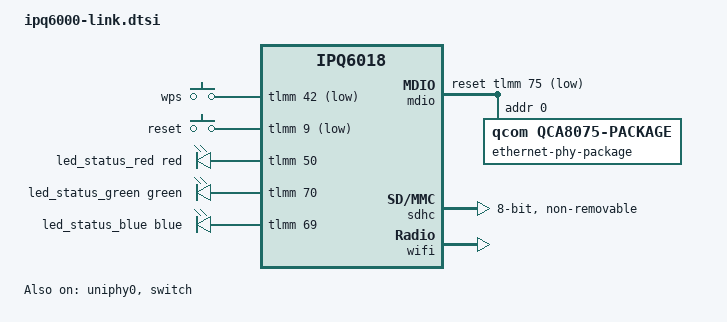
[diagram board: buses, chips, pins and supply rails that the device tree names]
// SPDX-License-Identifier: GPL-2.0-or-later OR MIT

#include "ipq6018.dtsi"
#include "ipq6018-ess.dtsi"
#include "ipq6018-nss.dtsi"
#include "ipq6018-common.dtsi"

#include <dt-bindings/gpio/gpio.h>
#include <dt-bindings/input/input.h>
#include <dt-bindings/leds/common.h>

/ {
	aliases {
		serial0 = &blsp1_uart3;

		led-boot = &led_status_red;
		led-failsafe = &led_status_red;
		led-running = &led_status_green;
		led-upgrade = &led_status_red;
	};

	chosen {
		stdout-path = "serial0:115200n8";
	};

	keys {
		compatible = "gpio-keys";

		wps {
			label = "wps";
			linux,code = <KEY_WPS_BUTTON>;
			gpios = <&tlmm 42 GPIO_ACTIVE_LOW>;
		};

		reset {
			label = "reset";
			linux,code = <KEY_RESTART>;
			gpios = <&tlmm 9 GPIO_ACTIVE_LOW>;
		};
	};

	leds {
		/* Single RGB led controlled via GPIO.
		To mimic the OEM default behaviour red are switched on from boot */
		compatible = "gpio-leds";

		led_status_red: status-red {
			gpios = <&tlmm 50 GPIO_ACTIVE_HIGH>;
			color = <LED_COLOR_ID_RED>;
			function = LED_FUNCTION_STATUS;
			default-state = "on";
		};

		led_status_green: status-green {
			gpios = <&tlmm 70 GPIO_ACTIVE_HIGH>;
			color = <LED_COLOR_ID_GREEN>;
			function = LED_FUNCTION_STATUS;
		};

		led_status_blue: status-blue {
			gpios = <&tlmm 69 GPIO_ACTIVE_HIGH>;
			color = <LED_COLOR_ID_BLUE>;
			function = LED_FUNCTION_STATUS;
		};
	};
};

&mdio {
	status = "okay";

	pinctrl-0 = <&mdio_pins>;
	pinctrl-names = "default";
	reset-gpios = <&tlmm 75 GPIO_ACTIVE_LOW>;

	ethernet-phy-package@0 {
		compatible = "qcom,qca8075-package";
		qcom,package-mode = "psgmii";
		#address-cells = <1>;
		#size-cells = <0>;
		reg = <0>;

		qca8075_0: ethernet-phy@0 {
			compatible = "ethernet-phy-ieee802.3-c22";
			reg = <0>;
		};

		qca8075_1: ethernet-phy@1 {
			compatible = "ethernet-phy-ieee802.3-c22";
			reg = <1>;
		};

		qca8075_2: ethernet-phy@2 {
			compatible = "ethernet-phy-ieee802.3-c22";
			reg = <2>;
		};

		qca8075_3: ethernet-phy@3 {
			compatible = "ethernet-phy-ieee802.3-c22";
			reg = <3>;
		};

		qca8075_4: ethernet-phy@4 {
			compatible = "ethernet-phy-ieee802.3-c22";
			reg = <4>;
		};
	};
};

&sdhc {
	status = "okay";

	bus-width = <8>;
	mmc-ddr-1_8v;
	mmc-hs200-1_8v;
	non-removable;
};

&wifi {
	status = "okay";
	qcom,ath11k-fw-memory-mode = <1>;
	qcom,ath11k-calibration-variant = "Link-NN6000";
};

&uniphy0 {
	status = "okay";
};

&switch {
	status = "okay";

	ports {
		#address-cells = <1>;
		#size-cells = <0>;

		port@0 {
			reg = <0>;
			ethernet = <&edma>;
			phy-mode = "internal";

			fixed-link {
				speed = <1000>;
				full-duplex;
			};
		};

		swport1: port@1 {
			reg = <1>;
			phy-handle = <&qca8075_0>;
			phy-mode = "psgmii";
			pcs-handle = <&uniphy0 0>;
			status = "disabled";
		};

		swport2: port@2 {
			reg = <2>;
			phy-handle = <&qca8075_1>;
			phy-mode = "psgmii";
			pcs-handle = <&uniphy0 1>;
		};

		swport3: port@3 {
			reg = <3>;
			phy-handle = <&qca8075_2>;
			phy-mode = "psgmii";
			pcs-handle = <&uniphy0 2>;
		};

		swport4: port@4 {
			reg = <4>;
			phy-handle = <&qca8075_3>;
			phy-mode = "psgmii";
			pcs-handle = <&uniphy0 3>;
		};

		swport5: port@5 {
			reg = <5>;
			phy-handle = <&qca8075_4>;
			phy-mode = "psgmii";
			pcs-handle = <&uniphy0 4>;
			status = "disabled";
		};
	};
};

&edma {
	status = "okay";
};
